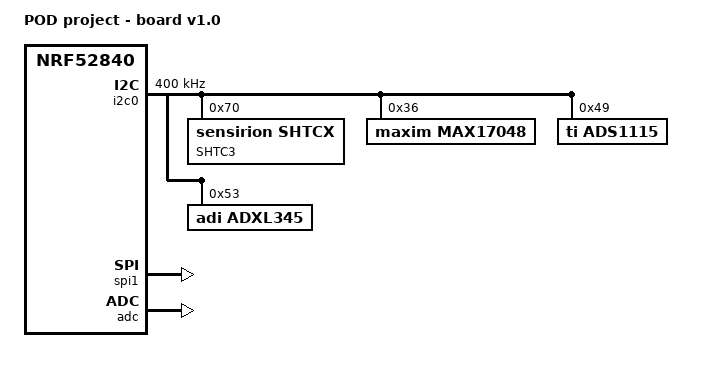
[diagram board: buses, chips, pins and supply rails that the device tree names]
/dts-v1/;
#include <nordic/nrf52840_qiaa.dtsi>
#include "POD_v1-pinctrl.dtsi"

/ {
	model = "POD project - board v1.0";
	compatible = "zyntellitech,POD-v1";

	chosen {
		zephyr,sram = &sram0;
		zephyr,flash = &flash0;
		zephyr,code-partition = &slot0_partition;
	};

	// ade9000_cs: ade9000_cs {
    //     compatible = "gpio-controller";
	// 	gpios = <&gpio0 4 GPIO_ACTIVE_LOW>;
	// 	status = "okay";
	// 	gpio-controller;
	// 	#gpio-cells = <1>;
    // };
};

&flash0 {
	partitions {
		compatible = "fixed-partitions";
		#address-cells = <1>;
		#size-cells = <1>;

		boot_partition: partition@0 {
			label = "mcuboot";
			reg = <0x00000000 DT_SIZE_K(48)>;
		};

		slot0_partition: partition@c000 {
			label = "image-0";
			reg = <0x0000c000 DT_SIZE_K(472)>;
		};

		slot1_partition: partition@82000 {
			label = "image-1";
			reg = <0x00082000 DT_SIZE_K(472)>;
		};

		storage_partition: partition@f8000 {
			label = "storage";
			reg = <0x000f8000 DT_SIZE_K(32)>;
		};
	};
};
&usbd {
	status = "disabled";
};

&gpiote {
	status = "okay";
};

&systick {
	status = "disabled";
};

&i2c0 {
	status = "okay";
	compatible = "nordic,nrf-twim";
	pinctrl-0 = <&i2c0_default>;
	pinctrl-names = "default";
	clock-frequency = <I2C_BITRATE_FAST>;
	label = "I2C_0";
	shtc3@70 {
		compatible = "sensirion,shtcx";
		reg = <0x70>;
		measure-mode = "normal";
		clock-stretching;
		label = "SHTC3";
        status = "okay";
	};

	max17048:max17048@36 {
		compatible = "maxim,max17048";
		reg = <0x36>;
		label = "MAX17048";
        status = "okay";
	};

	ads1115:ads1115@49 {
		compatible = "ti,ads1115";
		reg = <0x49>;
		#io-channel-cells = <0x1>;
		label = "ADS1115";
		status = "okay";
		// channel@0 {
		// 	reg = <0>;
		// 	zephyr,gain = "ADC_GAIN_1";
		// 	zephyr,reference = "ADC_REF_INTERNAL";
		// 	zephyr,acquisition-time = <ADC_ACQ_TIME_DEFAULT>;
		// 	zephyr,resolution = < 15 >;
		// };
		// channel@1 {
		// 	reg = <1>;
		// 	zephyr,gain = "ADC_GAIN_1";
		// 	zephyr,reference = "ADC_REF_INTERNAL";
		// 	zephyr,acquisition-time = <ADC_ACQ_TIME_DEFAULT>;
		// 	zephyr,resolution = < 15 >;
		// };
		// channel@2 {
		// 	reg = <2>;
		// 	zephyr,gain = "ADC_GAIN_1";
		// 	zephyr,reference = "ADC_REF_INTERNAL";
		// 	zephyr,acquisition-time = <ADC_ACQ_TIME_DEFAULT>;
		// 	zephyr,resolution = < 15 >;
		// };
		// channel@3 {
		// 	reg = <3>;
		// 	zephyr,gain = "ADC_GAIN_1";
		// 	zephyr,reference = "ADC_REF_INTERNAL";
		// 	zephyr,acquisition-time = <ADC_ACQ_TIME_DEFAULT>;
		// 	zephyr,resolution = < 15 >;
		// };
	};

	adxl345: adxl345@53 {
		compatible = "adi,adxl345";
		reg = <0x53>;
		// int2-gpios = <&gpio1 9 0>;
		// supply-gpios = <&gpio1 11 0>;
	};
};

&spi1 {
	status = "okay";
	compatible = "nordic,nrf-spim";
	pinctrl-0 = <&spi1_default>;
	pinctrl-names = "default";
	// cs-gpios = <&gpio0 4 GPIO_ACTIVE_LOW>;
	// max-frequency = <DT_FREQ_M(20)>;
	// ade9000: ade9000@0 {
    //     // compatible = "adi,ade9000";
    //     reg = <0>;
    //     spi-max-frequency = <DT_FREQ_M(20)>;
	// 	cs-gpios = <&gpio0 4 GPIO_ACTIVE_LOW>;
	// 	status = "okay";
    // };
};

&adc {
	status = "okay";
};

&gpio0 {
	label = "GPIO_0";
	status = "okay";
};

&gpio1 {
	label = "GPIO_1";
	status = "okay";
};
